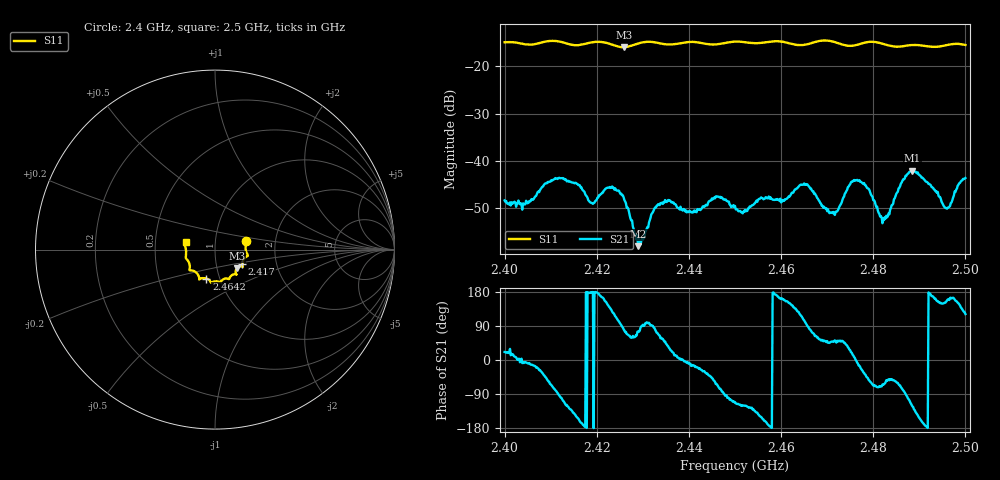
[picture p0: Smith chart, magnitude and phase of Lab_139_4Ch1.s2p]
# Hz S RI R 50
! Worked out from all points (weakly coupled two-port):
!   601 points, 2.4 GHz to 2.5 GHz, reference 50 ohm
!   highest |S21| = -42.16 dB at 2.4885 GHz (marker M1); lowest = -58.2 dB at 2.429 GHz (marker M2)
!   lowest |S11| = -15.9 dB at 2.4258 GHz (marker M3), VSWR 1.38, Z = 62.3 - j13.3 ohm
!   |S11| at or under -10 dB: start of sweep to end of sweep
!   S12 and S22 are empty: the file has one direction only
!   S11 on the Smith chart (normalised r, x): 2.4 GHz: 1.41, +0.15; 2.417 GHz: 1.34, -0.22; 2.4642 GHz: 0.86, -0.29; 2.5 GHz: 0.72, +0.06
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2.4e9  0.1732 0.0498  0.00353 0.00137  0 0  0 0
2.404e9  0.1713 0.0257  0.0035 -0.000399  0 0  0 0
2.4115e9  0.1817 -0.0353  0.000298 -0.00638  0 0  0 0
2.416667e9  0.1526 -0.0747  -0.00506 -0.00123  0 0  0 0
2.417e9  0.1522 -0.0786  -0.00478 -0.000744  0 0  0 0
2.419e9  0.1534 -0.0947  -0.00354 5.36e-05  0 0  0 0
2.422833e9  0.1463 -0.0933  -0.00392 0.00349  0 0  0 0
2.425833e9  0.1216 -0.1037  0.000658 0.00403  0 0  0 0
2.429e9  0.116 -0.1313  0.00031 0.0012  0 0  0 0
2.433333e9  0.1126 -0.1368  0.00129 0.0032  0 0  0 0
2.441167e9  0.0773 -0.1644  0.00286 -0.000769  0 0  0 0
2.446333e9  0.0452 -0.1664  0.00144 -0.00389  0 0  0 0
2.45e9  0.0296 -0.1809  -0.00118 -0.00309  0 0  0 0
2.464167e9  -0.0479 -0.1612  -0.00271 0.00482  0 0  0 0
2.466667e9  -0.0762 -0.1601  0.00136 0.00465  0 0  0 0
2.471333e9  -0.0874 -0.1612  0.00191 0.00212  0 0  0 0
2.476833e9  -0.125 -0.1168  0.00592 -0.00153  0 0  0 0
2.481833e9  -0.141 -0.1037  0.000857 -0.00232  0 0  0 0
2.483333e9  -0.1407 -0.0897  0.00174 -0.00214  0 0  0 0
2.4885e9  -0.1616 -0.0484  -0.00418 -0.00659  0 0  0 0
2.495833e9  -0.1668 0.0182  -0.00282 0.00137  0 0  0 0
2.5e9  -0.1637 0.0422  -0.0034 0.00559  0 0  0 0
